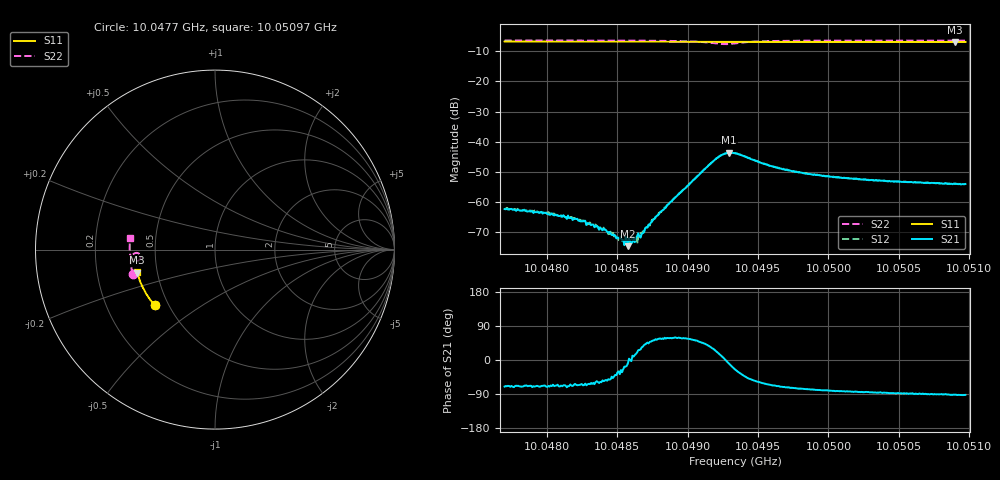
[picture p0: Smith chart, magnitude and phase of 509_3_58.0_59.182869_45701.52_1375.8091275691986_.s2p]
#  HZ  S  RI  R  50.00
! Rohde & Schwarz Vector Network Analyzer
! Rohde-Schwarz,ZNB20-2Port,1311601062101988,3.16
! Created: UTC 3/21/2024, 1:13:07 AM
! freq[Hz]  re:S11  im:S11  re:S21  im:S21  re:S12  im:S12  re:S22  im:S22
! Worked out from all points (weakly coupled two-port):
!   401 points, 10.0477 GHz to 10.05097 GHz, reference 50 ohm
!   highest |S21| = -43.68 dB at 10.0493 GHz (marker M1); lowest = -74.7 dB at 10.04857 GHz (marker M2)
!   lowest |S11| = -6.9 dB at 10.0509 GHz (marker M3), VSWR 2.65, Z = 19.2 - j6.17 ohm
!   |S11| at or under -10 dB: nowhere
!   |S22| runs from -7.6 to -6.4 dB; largest |S21 - S12| = 0.00046
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1.0047699e10  -0.3355 -0.3114  0.000258 -0.000714  0.000325 -0.000689  -0.4582 -0.1379
1.004801e10  -0.3488 -0.2954  0.000229 -0.000579  0.000309 -0.000602  -0.4633 -0.1167
1.0048247e10  -0.3583 -0.2832  0.000211 -0.000425  0.000211 -0.000431  -0.4664 -0.1001
1.0048337e10  -0.3617 -0.2782  0.000168 -0.00034  0.000198 -0.000375  -0.4675 -0.0935
1.0048419e10  -0.3651 -0.274  0.000206 -0.00027  0.000221 -0.000254  -0.4684 -0.0873
1.0048534e10  -0.3693 -0.2677  0.000198 -0.000125  0.000196 -0.000109  -0.4691 -0.0784
1.0048558e10  -0.3703 -0.2663  0.00025 -7.9e-05  0.000221 -6.01e-05  -0.4691 -0.0765
1.0048575e10  -0.3709 -0.2654  0.000182 -2.9e-05  0.000215 -1.19e-05  -0.4693 -0.0751
1.0048591e10  -0.3712 -0.2647  0.000225 1.84e-06  0.00021 -1.92e-05  -0.4692 -0.0737
1.004864e10  -0.3731 -0.2619  0.000253 9.08e-05  0.000192 5.85e-05  -0.4694 -0.0698
1.0048673e10  -0.3744 -0.2601  0.000249 0.000163  0.00023 0.000188  -0.4693 -0.0669
1.0048714e10  -0.3758 -0.2579  0.000264 0.000272  0.000252 0.000275  -0.4694 -0.0633
1.0048796e10  -0.3787 -0.2533  0.000348 0.000522  0.000356 0.000558  -0.4688 -0.0557
1.0049189e10  -0.3915 -0.2308  0.00436 0.00224  0.00425 0.00252  -0.4299 -0.0191
1.0049246e10  -0.3931 -0.2277  0.006 0.000903  0.00596 0.00127  -0.4162 -0.0309
1.0049295e10  -0.3945 -0.2249  0.00645 -0.00116  0.00655 -0.000759  -0.415 -0.048
1.0049336e10  -0.3957 -0.2229  0.00582 -0.0027  0.00604 -0.0023  -0.4229 -0.0592
1.0049639e10  -0.4052 -0.2052  0.00132 -0.00344  0.00154 -0.00338  -0.4685 -0.0405
1.0049884e10  -0.4118 -0.1906  0.000606 -0.00277  0.000768 -0.00274  -0.4742 -0.0173
1.0050433e10  -0.4249 -0.1572  9.55e-05 -0.00223  0.00024 -0.00221  -0.4753 0.0248
1.0050899e10  -0.4337 -0.1278  -5.07e-05 -0.00199  6.77e-05 -0.00202  -0.4726 0.0573
1.0050973e10  -0.4352 -0.1233  -7.02e-05 -0.00198  8.8e-06 -0.00197  -0.4719 0.0622
